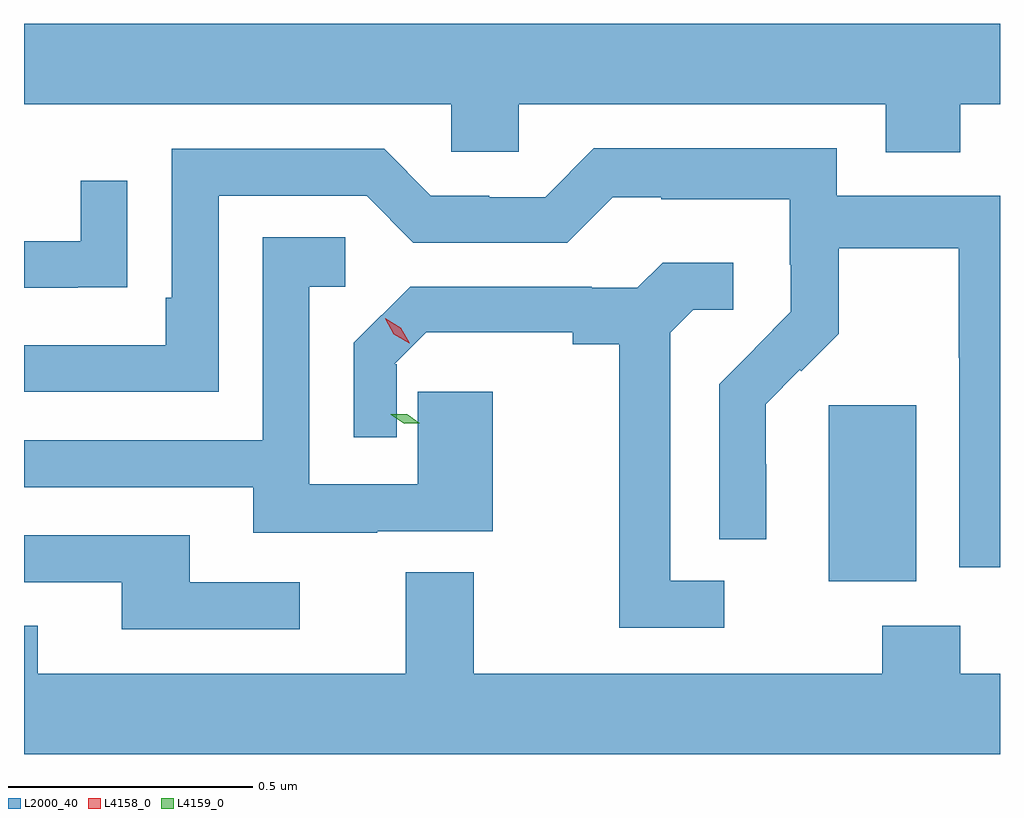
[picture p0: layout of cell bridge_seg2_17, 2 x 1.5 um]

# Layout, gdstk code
import gdstk
lib = gdstk.Library(unit=1e-6, precision=1e-09)
def R(c, l, rs):  # rectangles x0, y0, x1, y1
    for r in rs: c.add(gdstk.rectangle(r[:2], r[2:], *l))
def P(c, l, *ps):  # polygons
    for p in ps: c.add(gdstk.Polygon(p, *l))
L2000_40 = (2000, 40)
L4158_0 = (4158, 0)
L4159_0 = (4159, 0)

bridge_seg2_17 = lib.new_cell('bridge_seg2_17')
R(bridge_seg2_17, L2000_40, [(739.88,604.034,740.059,604.395)])
P(bridge_seg2_17, L2000_40, [(740.15,605.012),(740.231,605.012),(740.231,605.176),(738.231,605.176),(738.231,605.012),(739.107,605.012),(739.107,604.914),(739.245,604.914),(739.245,605.012),(739.997,605.012),(739.997,604.913),(740.15,604.913)],
  [(740.231,604.824),(739.896,604.824),(739.896,604.921),(739.399,604.921),(739.299,604.821),(739.184,604.821),(739.184,604.824),(739.065,604.824),(738.969,604.92),(738.534,604.92),(738.534,604.615),(738.521,604.615),(738.521,604.518),(738.231,604.518),(738.231,604.422),(738.63,604.422),(738.63,604.824),(738.933,604.824),(739.029,604.728),(739.344,604.728),(739.437,604.821),(739.537,604.821),(739.537,604.817),(739.8,604.817),(739.8,604.683),(739.802,604.683),(739.802,604.586),(739.728,604.512),(739.729,604.511),(739.656,604.438),(739.656,604.12),(739.752,604.12),(739.752,604.274),(739.751,604.274),(739.751,604.397),(739.821,604.467),(739.824,604.464),(739.901,604.541),(739.901,604.716),(740.146,604.716),(740.146,604.492),(740.148,604.492),(740.148,604.063),(740.231,604.063)],
  [(738.341,604.636),(738.443,604.636),(738.443,604.855),(738.347,604.855),(738.347,604.731),(738.231,604.731),(738.231,604.635),(738.341,604.635)],
  [(738.955,604.137),(739.192,604.137),(739.192,604.422),(739.038,604.422),(739.038,604.233),(738.816,604.233),(738.816,604.638),(738.889,604.638),(738.889,604.739),(738.72,604.739),(738.72,604.323),(738.231,604.323),(738.231,604.227),(738.701,604.227),(738.701,604.133),(738.955,604.133)],
  [(739.666,604.035),(739.555,604.035),(739.555,604.543),(739.602,604.59),(739.684,604.59),(739.684,604.687),(739.54,604.687),(739.488,604.635),(739.394,604.635),(739.394,604.638),(739.022,604.638),(738.907,604.523),(738.907,604.329),(738.995,604.329),(738.995,604.479),(738.99,604.479),(739.055,604.544),(739.355,604.544),(739.355,604.52),(739.451,604.52),(739.451,603.939),(739.666,603.939)],
  [(738.796,604.032),(738.571,604.032),(738.571,604.128),(738.231,604.128),(738.231,604.032),(738.431,604.032),(738.431,603.936),(738.796,603.936)],
  [(740.231,603.844),(740.15,603.844),(740.15,603.943),(739.99,603.943),(739.99,603.844),(739.153,603.844),(739.153,604.052),(739.013,604.052),(739.013,603.844),(738.259,603.844),(738.259,603.943),(738.231,603.943),(738.231,603.68),(740.231,603.68)])
P(bridge_seg2_17, L4158_0, [(739.02,604.522),(738.989,604.54),(738.971,604.572),(738.971,604.573),(738.971,604.573),(739.003,604.554),(739.021,604.522),(739.021,604.522)])
P(bridge_seg2_17, L4159_0, [(739.01,604.357),(738.983,604.375),(738.983,604.376),(738.984,604.376),(739.016,604.376),(739.042,604.358),(739.042,604.358),(739.042,604.358)])

lib.write_gds('bridge_seg2_17.gds')
